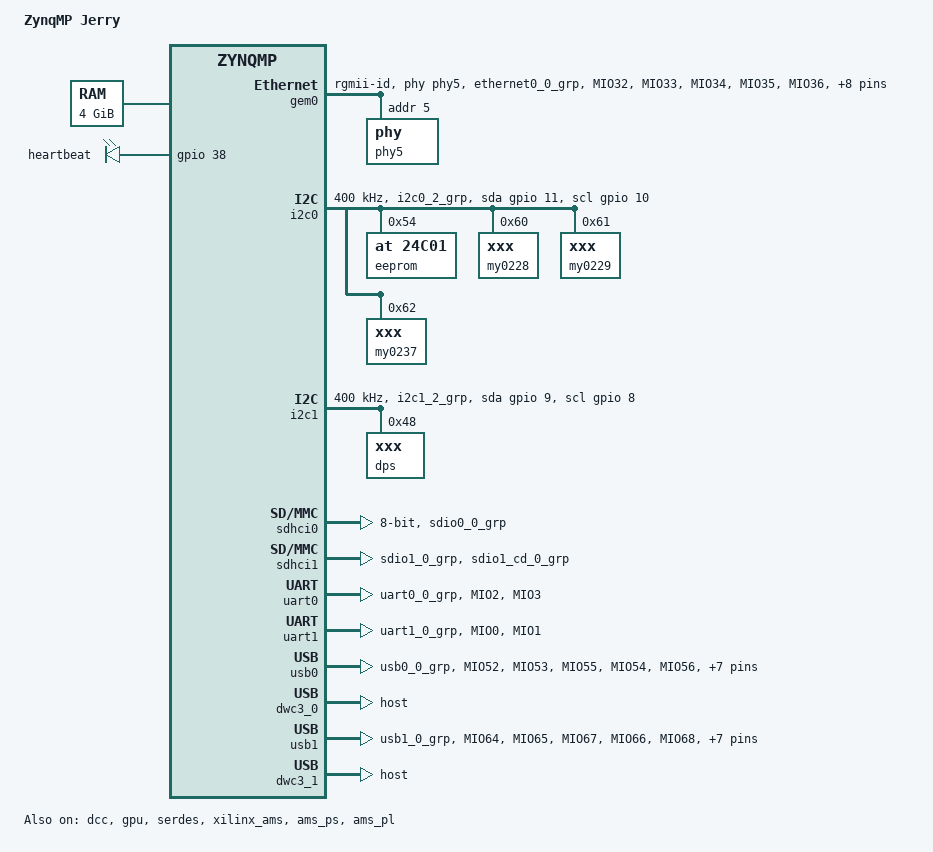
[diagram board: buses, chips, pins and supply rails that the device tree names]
/*
 * dts file for ZynqMP Jerry
 *
 * (C) Copyright 2018, Reglus Co., Ltd.
 * (C) Copyright 2015, Xilinx, Inc.
 *
 * Tetsuya Morizumi <morizumi@reglus.co.jp>
 *
 * SPDX-License-Identifier:	GPL-2.0+
 */

/dts-v1/;

#include "zynqmp.dtsi"
#include "zynqmp-clk-ccf.dtsi"
#include <dt-bindings/gpio/gpio.h>
#include <dt-bindings/pinctrl/pinctrl-zynqmp.h>
#include <dt-bindings/phy/phy.h>

/ {
	model = "ZynqMP Jerry";
	compatible = "xlnx,zynqmp-jerry", "xlnx,zynqmp";

	aliases {
		ethernet0 = &gem0;
		gpio0 = &gpio;
		i2c0 = &i2c0;
		i2c1 = &i2c1;
		mmc0 = &sdhci0;
		mmc1 = &sdhci1;
		serial0 = &uart0;
		serial1 = &uart1;
		serial2 = &dcc;
		usb0 = &usb0;
	};

	chosen {
		bootargs = "earlycon clk_ignore_unused";
		stdout-path = "serial0:115200n8";
	};

	memory@0 {
		device_type = "memory";
		reg = <0x0 0x0 0x0 0x80000000>, <0x8 0x00000000 0x0 0x80000000>;
	};

	leds {
		compatible = "gpio-leds";
		heartbeat_led {
			label = "heartbeat";
			gpios = <&gpio 38 GPIO_ACTIVE_HIGH>;
			linux,default-trigger = "heartbeat";
		};
	};
};

&dcc {
	status = "okay";
};

/* fpd_dma clk 600MHz, lpd_dma 500MHz */
&fpd_dma_chan1 {
	status = "okay";
};

&fpd_dma_chan2 {
	status = "okay";
};

&fpd_dma_chan3 {
	status = "okay";
};

&fpd_dma_chan4 {
	status = "okay";
};

&fpd_dma_chan5 {
	status = "okay";
};

&fpd_dma_chan6 {
	status = "okay";
};

&fpd_dma_chan7 {
	status = "okay";
};

&fpd_dma_chan8 {
	status = "okay";
};

&gem0 {
	status = "okay";
	phy-handle = <&phy5>;
	phy-mode = "rgmii-id";
	pinctrl-names = "default";
	pinctrl-0 = <&pinctrl_gem0_default>;
	phy5: phy@5 {
		reg = <5>;
		ti,rx-internal-delay = <0x8>;
		ti,tx-internal-delay = <0xa>;
		ti,fifo-depth = <0x1>;
		ti,dp83867-rxctrl-strap-quirk;
	};
};

&gpio {
	status = "okay";
	pinctrl-names = "default";
	pinctrl-0 = <&pinctrl_gpio_default>;
};

&gpu {
	status = "okay";
};

&i2c0 {
	status = "okay";
	clock-frequency = <400000>;
	pinctrl-names = "default", "gpio";
	pinctrl-0 = <&pinctrl_i2c0_default>;
	pinctrl-1 = <&pinctrl_i2c0_gpio>;
	scl-gpios = <&gpio 10 GPIO_ACTIVE_HIGH>;
	sda-gpios = <&gpio 11 GPIO_ACTIVE_HIGH>;

	eeprom@54 {
		compatible = "at,24c01";
		reg = <0x54>;
	};
	my0228@60 { /* muRata DC-DC converter */
		compatible = "xxx";
		reg = <0x60>;
	};
	my0229@61 { /* muRata DC-DC converter */
		compatible = "xxx";
		reg = <0x61>;
	};
	my0237@62 { /* muRata DC-DC converter */
		compatible = "xxx";
		reg = <0x62>;
	};
};

&i2c1 {
	status = "okay";
	clock-frequency = <400000>;
	pinctrl-names = "default", "gpio";
	pinctrl-0 = <&pinctrl_i2c1_default>;
	pinctrl-1 = <&pinctrl_i2c1_gpio>;
	scl-gpios = <&gpio 8 GPIO_ACTIVE_HIGH>;
	sda-gpios = <&gpio 9 GPIO_ACTIVE_HIGH>;

	dps@48 { /* Digital Pressure Sensor */
		compatible = "xxx";
		reg = <0x48>;
	};
};

&pinctrl0 {
	status = "okay";
	pinctrl_i2c0_default: i2c0-default {
		mux {
			groups = "i2c0_2_grp";
			function = "i2c0";
		};

		conf {
			groups = "i2c0_2_grp";
			bias-pull-up;
			slew-rate = <SLEW_RATE_SLOW>;
			io-standard = <IO_STANDARD_LVCMOS18>;
		};
	};

	pinctrl_i2c0_gpio: i2c0-gpio {
		mux {
			groups = "gpio0_10_grp", "gpio0_11_grp";
			function = "gpio0";
		};

		conf {
			groups = "gpio0_10_grp", "gpio0_11_grp";
			slew-rate = <SLEW_RATE_SLOW>;
			io-standard = <IO_STANDARD_LVCMOS18>;
		};
	};

	pinctrl_i2c1_default: i2c1-default {
		mux {
			groups = "i2c1_2_grp";
			function = "i2c1";
		};

		conf {
			groups = "i2c1_2_grp";
			bias-pull-up;
			slew-rate = <SLEW_RATE_SLOW>;
			io-standard = <IO_STANDARD_LVCMOS18>;
		};
	};

	pinctrl_i2c1_gpio: i2c1-gpio {
		mux {
			groups = "gpio0_8_grp", "gpio0_9_grp";
			function = "gpio0";
		};

		conf {
			groups = "gpio0_8_grp", "gpio0_9_grp";
			slew-rate = <SLEW_RATE_SLOW>;
			io-standard = <IO_STANDARD_LVCMOS18>;
		};
	};

	pinctrl_uart0_default: uart0-default {
		mux {
			groups = "uart0_0_grp";
			function = "uart0";
		};

		conf {
			groups = "uart0_0_grp";
			slew-rate = <SLEW_RATE_SLOW>;
			io-standard = <IO_STANDARD_LVCMOS18>;
		};

		conf-rx {
			pins = "MIO2";
			bias-pull-up;
		};

		conf-tx {
			pins = "MIO3";
			bias-disable;
		};
	};

	pinctrl_uart1_default: uart1-default {
		mux {
			groups = "uart1_0_grp";
			function = "uart1";
		};

		conf {
			groups = "uart1_0_grp";
			slew-rate = <SLEW_RATE_SLOW>;
			io-standard = <IO_STANDARD_LVCMOS18>;
		};

		conf-rx {
			pins = "MIO0";
			bias-pull-up;
		};

		conf-tx {
			pins = "MIO1";
			bias-disable;
		};
	};

	pinctrl_usb0_default: usb0-default {
		mux {
			groups = "usb0_0_grp";
			function = "usb0";
		};

		conf {
			groups = "usb0_0_grp";
			slew-rate = <SLEW_RATE_SLOW>;
			io-standard = <IO_STANDARD_LVCMOS18>;
		};

		conf-rx {
			pins = "MIO52", "MIO53", "MIO55";
			bias-high-impedance;
		};

		conf-tx {
			pins = "MIO54", "MIO56", "MIO57", "MIO58", "MIO59",
			       "MIO60", "MIO61", "MIO62", "MIO63";
			bias-disable;
		};
	};

	pinctrl_usb1_default: usb1-default {
		mux {
			groups = "usb1_0_grp";
			function = "usb1";
		};

		conf {
			groups = "usb1_0_grp";
			slew-rate = <SLEW_RATE_SLOW>;
			io-standard = <IO_STANDARD_LVCMOS18>;
		};

		conf-rx {
			pins = "MIO64", "MIO65", "MIO67";
			bias-high-impedance;
		};

		conf-tx {
			pins = "MIO66", "MIO68", "MIO69", "MIO70", "MIO71",
			       "MIO72", "MIO73", "MIO74", "MIO75";
			bias-disable;
		};
	};

	pinctrl_gem0_default: gem0-default {
		mux {
			function = "ethernet0";
			groups = "ethernet0_0_grp";
		};

		conf {
			groups = "ethernet0_0_grp";
			slew-rate = <SLEW_RATE_SLOW>;
			io-standard = <IO_STANDARD_LVCMOS18>;
		};

		conf-rx {
			pins = "MIO32", "MIO33", "MIO34", "MIO35", "MIO36",
									"MIO37";
			bias-high-impedance;
			low-power-disable;
		};

		conf-tx {
			pins = "MIO26", "MIO27", "MIO28", "MIO29", "MIO30",
									"MIO31";
			bias-disable;
			low-power-enable;
		};

		mux-mdio {
			function = "mdio0";
			groups = "mdio0_0_grp";
		};

		conf-mdio {
			groups = "mdio0_0_grp";
			slew-rate = <SLEW_RATE_SLOW>;
			io-standard = <IO_STANDARD_LVCMOS18>;
			bias-disable;
		};
	};

	pinctrl_sdhci0_default: sdhci0-default {
		mux {
			groups = "sdio0_0_grp";
			function = "sdio0";
		};

		conf {
			groups = "sdio0_0_grp";
			slew-rate = <SLEW_RATE_SLOW>;
			io-standard = <IO_STANDARD_LVCMOS18>;
			bias-disable;
		};
	};

	pinctrl_sdhci1_default: sdhci1-default {
		mux {
			groups = "sdio1_0_grp";
			function = "sdio1";
		};

		conf {
			groups = "sdio1_0_grp";
			slew-rate = <SLEW_RATE_SLOW>;
			io-standard = <IO_STANDARD_LVCMOS18>;
			bias-disable;
		};

		mux-cd {
			groups = "sdio1_cd_0_grp";
			function = "sdio1_cd";
		};

		conf-cd {
			groups = "sdio1_cd_0_grp";
			bias-high-impedance;
			bias-pull-up;
			slew-rate = <SLEW_RATE_SLOW>;
			io-standard = <IO_STANDARD_LVCMOS18>;
		};

		/*
		mux-wp {
			groups = "sdio1_0_wp_grp";
			function = "sdio1_wp";
		};

		conf-wp {
			groups = "sdio1_0_wp_grp";
			bias-high-impedance;
			bias-pull-up;
			slew-rate = <SLEW_RATE_SLOW>;
			io-standard = <IO_STANDARD_LVCMOS18>;
		};
		*/
	};

	pinctrl_gpio_default: gpio-default {
		conf-pull-up {
			pins = "MIO4", "MIO5", "MIO6", "MIO7",
				"MIO12", "MIO24", "MIO25",
				"MIO38", "MIO43", "MIO44";
			bias-pull-up;
		};
	};
};

/* SD0 eMMC, 8-bit wide data bus */
/* non-removable; */
/* broken-mmc-highspeed; */
&sdhci0 {
	status = "okay";
	pinctrl-names = "default";
	pinctrl-0 = <&pinctrl_sdhci0_default>;
	bus-width = <8>;
	max-frequency = <100000000>;
	xlnx,mio_bank = <0>;
};

/* SD1 with level shifter */
&sdhci1 {
	status = "okay";
	pinctrl-names = "default";
	pinctrl-0 = <&pinctrl_sdhci1_default>;
	disable-wp;
	no-1-8-v;
	xlnx,mio_bank = <1>;
};

&serdes {
	status = "okay";
};

&uart0 {
	status = "okay";
	pinctrl-names = "default";
	pinctrl-0 = <&pinctrl_uart0_default>;
};

&uart1 {
	status = "okay";
	pinctrl-names = "default";
	pinctrl-0 = <&pinctrl_uart1_default>;
};

/* ULPI SMSC USB3320 */
&usb0 {
	status = "okay";
	pinctrl-names = "default";
	pinctrl-0 = <&pinctrl_usb0_default>;
};

&dwc3_0 {
	status = "okay";
	dr_mode = "host";
	maximum-speed = "high-speed";
};

/* ULPI SMSC USB3320 */
&usb1 {
	status = "okay";
	pinctrl-names = "default";
	pinctrl-0 = <&pinctrl_usb1_default>;
};

&dwc3_1 {
	status = "okay";
	dr_mode = "host";
	maximum-speed = "high-speed";
};

&xilinx_ams {
	status = "okay";
};

&ams_ps {
	status = "okay";
};

&ams_pl {
	status = "okay";
};

